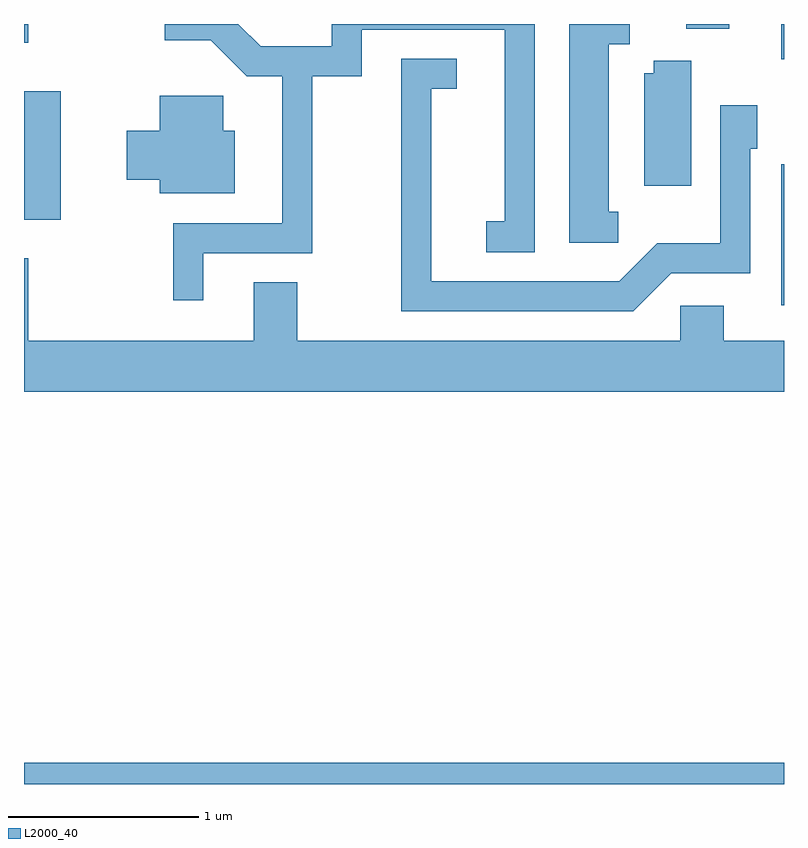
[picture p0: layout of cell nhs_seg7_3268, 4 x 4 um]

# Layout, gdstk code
import gdstk
lib = gdstk.Library(unit=1e-6, precision=1e-09)
def R(c, l, rs):  # rectangles x0, y0, x1, y1
    for r in rs: c.add(gdstk.rectangle(r[:2], r[2:], *l))
def P(c, l, *ps):  # polygons
    for p in ps: c.add(gdstk.Polygon(p, *l))
L2000_40 = (2000, 40)

nhs_seg7_3268 = lib.new_cell('nhs_seg7_3268')
R(nhs_seg7_3268, L2000_40, [(285.611,1712.252,289.611,1712.364), (289.596,1714.771,289.611,1715.514), (285.611,1715.221,285.804,1715.899), (289.596,1716.066,289.611,1716.252), (285.611,1716.153,285.634,1716.252), (289.096,1716.226,289.324,1716.252)])
P(nhs_seg7_3268, L2000_40, [(288.738,1715.264),(288.689,1715.264),(288.689,1716.146),(288.798,1716.146),(288.798,1716.252),(288.481,1716.252),(288.481,1715.101),(288.738,1715.101)],
  [(286.554,1715.046),(287.129,1715.046),(287.129,1715.976),(287.389,1715.976),(287.389,1716.221),(288.141,1716.221),(288.141,1715.214),(288.043,1715.214),(288.043,1715.051),(288.299,1715.051),(288.299,1716.252),(287.231,1716.252),(287.231,1716.134),(286.857,1716.134),(286.739,1716.252),(286.353,1716.252),(286.353,1716.166),(286.594,1716.166),(286.784,1715.976),(286.971,1715.976),(286.971,1715.204),(286.396,1715.204),(286.396,1714.798),(286.554,1714.798)],
  [(289.017,1714.941),(289.434,1714.941),(289.434,1715.596),(289.469,1715.596),(289.469,1715.824),(289.276,1715.824),(289.276,1715.099),(288.944,1715.099),(288.744,1714.899),(287.754,1714.899),(287.754,1715.911),(287.888,1715.911),(287.888,1716.069),(287.596,1716.069),(287.596,1714.741),(288.817,1714.741)],
  [(289.124,1716.059),(288.926,1716.059),(288.926,1715.994),(288.876,1715.994),(288.876,1715.401),(289.124,1715.401)],
  [(286.719,1715.689),(286.659,1715.689),(286.659,1715.874),(286.326,1715.874),(286.326,1715.689),(286.151,1715.689),(286.151,1715.431),(286.326,1715.431),(286.326,1715.361),(286.719,1715.361)],
  [(289.611,1714.584),(289.294,1714.584),(289.294,1714.769),(289.066,1714.769),(289.066,1714.584),(287.049,1714.584),(287.049,1714.894),(286.821,1714.894),(286.821,1714.584),(285.634,1714.584),(285.634,1715.018),(285.611,1715.018),(285.611,1714.316),(289.611,1714.316)])

lib.write_gds('nhs_seg7_3268.gds')
